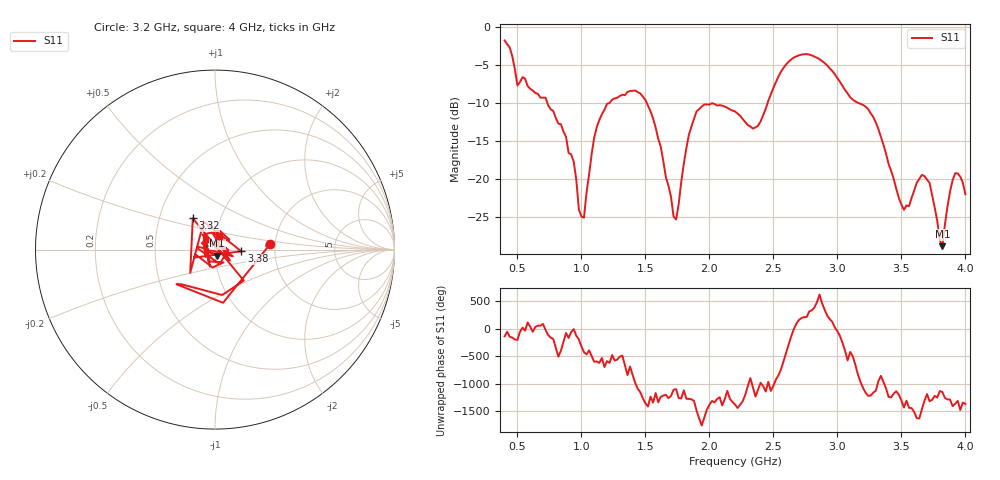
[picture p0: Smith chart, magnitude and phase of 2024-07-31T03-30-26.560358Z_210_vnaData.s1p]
!Created with skrf (http://scikit-rf.org).
# Hz S RI R 50.0
!freq ReS11 ImS11
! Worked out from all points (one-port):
!   181 points, 400 MHz to 4 GHz, reference 50 ohm
!   lowest |S11| = -28.9 dB at 3.82 GHz (marker M1), VSWR 1.07, Z = 51.2 - j3.46 ohm
!   |S11| at or under -10 dB: 734.4 MHz to 1.217 GHz (483 MHz wide, 49.5 % of centre); 1.511 GHz to 2.454 GHz (943.2 MHz wide, 47.6 % of centre); 3.166 GHz to end of sweep
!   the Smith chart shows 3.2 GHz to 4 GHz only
!   S11 on the Smith chart (normalised r, x): 3.2 GHz: 1.88, +0.12; 3.32 GHz: 0.74, +0.27; 3.38 GHz: 1.34, -0.03; 4 GHz: 1.03, +0.16
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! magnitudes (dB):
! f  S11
! 400 MHz  -1.7
! 500 MHz  -7.7
! 720 MHz  -9.3
! 860 MHz  -13.8
! 980 MHz  -24.1
! 1.02 GHz  -25.1
! 1.12 GHz  -13.2
! 1.3 GHz  -9.1
! 1.5 GHz  -9.6
! 1.62 GHz  -15.7
! 1.72 GHz  -25.0
! 1.76 GHz  -23.3
! 1.84 GHz  -14.1
! 1.9 GHz  -11.1
! 2.2 GHz  -11.1
! 2.38 GHz  -13.0
! 2.66 GHz  -4.0
! 2.86 GHz  -4.2
! 3.1 GHz  -9.2
! 3.2 GHz  -10.2
! 3.32 GHz  -13.4
! 3.38 GHz  -16.7
! 3.5 GHz  -23.4
! 3.56 GHz  -23.6
! 3.68 GHz  -19.6
! 3.82 GHz  -28.9
! 3.92 GHz  -19.3
! 4 GHz  -22.0
